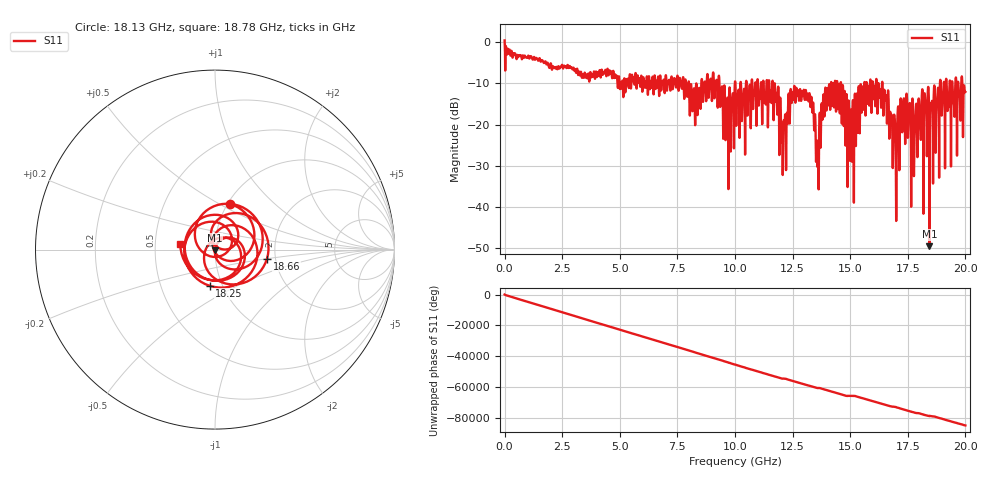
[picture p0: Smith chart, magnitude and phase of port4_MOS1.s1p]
! MS46122B
! 2250307/22442219
! 7/24/2025 12:38:52 PM
! C:\USERS\SPARKY\DOCUMENTS\VNA_DATA\JULY24_2025\295K\PORT4_MOS1.S1P
! CHANNEL.1
! TR.MEASUREMENT
! RAW.DATA
# GHZ S RI R 50.0
! FREQ.GHZ  S11RE  S11IM
!; PortSelection: Port_1
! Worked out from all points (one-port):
!   10001 points, 1 MHz to 20 GHz, reference 50 ohm
!   lowest |S11| = -49.4 dB at 18.44 GHz (marker M1), VSWR 1.01, Z = 50 - j0.334 ohm
!   |S11| at or under -10 dB: 11.72 GHz to 14.17 GHz (2.443 GHz wide, 18.9 % of centre); 14.6 GHz to 15.61 GHz (1.012 GHz wide, 6.7 % of centre); 16.4 GHz to 18.9 GHz (2.494 GHz wide, 14.1 % of centre) (the widest 3 of 72)
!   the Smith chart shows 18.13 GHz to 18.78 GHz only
!   S11 on the Smith chart (normalised r, x): 18.13 GHz: 1.03, +0.56; 18.25 GHz: 0.87, -0.37; 18.66 GHz: 1.80, -0.20; 18.78 GHz: 0.67, +0.05
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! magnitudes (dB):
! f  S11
! 1 MHz  0.4
! 2.501 GHz  -5.6
! 5.001 GHz  -11.2
! 7.501 GHz  -8.1
! 10 GHz  -9.6
! 11.55 GHz  -11.8
! 12.14 GHz  -20.3
! 12.5 GHz  -12.3
! 13.31 GHz  -13.3
! 13.56 GHz  -25.6
! 13.84 GHz  -12.7
! 14.09 GHz  -10.3
! 14.6 GHz  -9.8
! 15 GHz  -19.1
! 15.54 GHz  -10.8
! 16.31 GHz  -11.7
! 16.57 GHz  -14.7
! 16.93 GHz  -18.5
! 17.26 GHz  -21.8
! 17.5 GHz  -22.7
! 17.72 GHz  -15.3
! 18.13 GHz  -11.4
! 18.25 GHz  -13.8
! 18.44 GHz  -49.4
! 18.66 GHz  -10.6
! 18.78 GHz  -14.1
! 18.99 GHz  -15.7
! 20 GHz  -12.1
